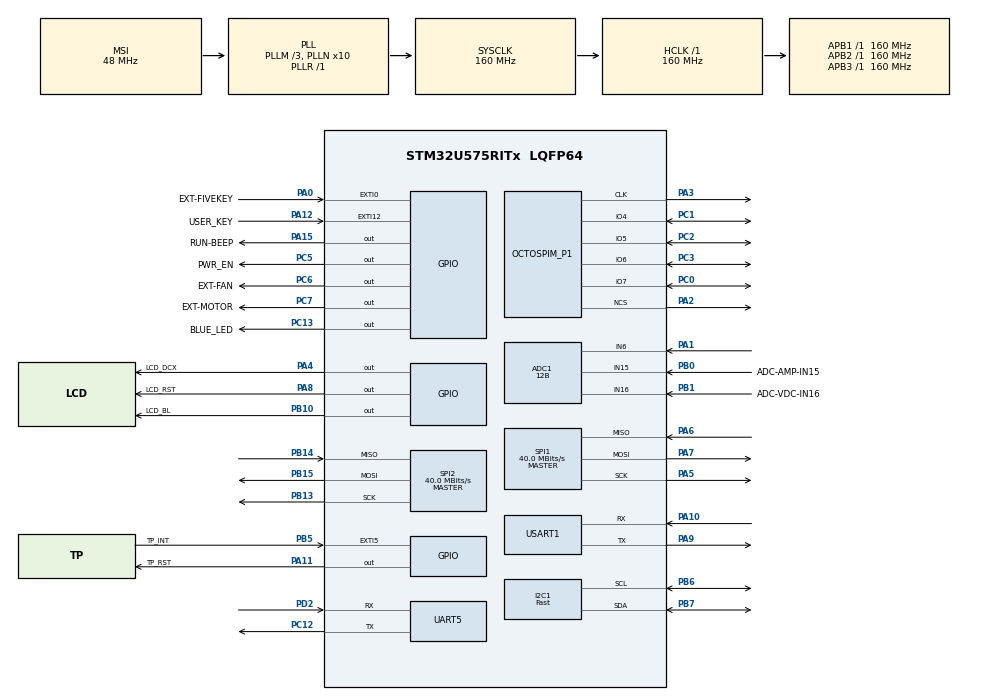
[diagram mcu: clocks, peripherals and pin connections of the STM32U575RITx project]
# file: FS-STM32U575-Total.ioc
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ADC1.Channel-0\#ChannelRegularConversion=ADC_CHANNEL_6
ADC1.Channel-1\#ChannelRegularConversion=ADC_CHANNEL_15
ADC1.Channel-2\#ChannelRegularConversion=ADC_CHANNEL_16
ADC1.Channel-3\#ChannelRegularConversion=ADC_CHANNEL_TEMPSENSOR
ADC1.Channel-4\#ChannelRegularConversion=ADC_CHANNEL_VREFINT
ADC1.Channel-5\#ChannelRegularConversion=ADC_CHANNEL_VBAT
ADC1.ClockPrescaler=ADC_CLOCK_ASYNC_DIV4
ADC1.ContinuousConvMode=ENABLE
ADC1.ConversionDataManagement=ADC_CONVERSIONDATA_DMA_CIRCULAR
ADC1.EnableRegularConversion=ENABLE
ADC1.MonitoredBy-0\#ChannelRegularConversion=__NULL
ADC1.MonitoredBy-1\#ChannelRegularConversion=__NULL
ADC1.MonitoredBy-2\#ChannelRegularConversion=__NULL
ADC1.MonitoredBy-3\#ChannelRegularConversion=__NULL
ADC1.MonitoredBy-4\#ChannelRegularConversion=__NULL
ADC1.MonitoredBy-5\#ChannelRegularConversion=__NULL
ADC1.NbrOfConversion=6
ADC1.NbrOfConversionFlag=1
ADC1.OffsetNumber-0\#ChannelRegularConversion=ADC_OFFSET_NONE
ADC1.OffsetNumber-1\#ChannelRegularConversion=ADC_OFFSET_NONE
ADC1.OffsetNumber-2\#ChannelRegularConversion=ADC_OFFSET_NONE
ADC1.OffsetNumber-3\#ChannelRegularConversion=ADC_OFFSET_NONE
ADC1.OffsetNumber-4\#ChannelRegularConversion=ADC_OFFSET_NONE
ADC1.OffsetNumber-5\#ChannelRegularConversion=ADC_OFFSET_NONE
ADC1.Rank-0\#ChannelRegularConversion=1
ADC1.Rank-1\#ChannelRegularConversion=2
ADC1.Rank-2\#ChannelRegularConversion=3
ADC1.Rank-3\#ChannelRegularConversion=4
ADC1.Rank-4\#ChannelRegularConversion=5
ADC1.Rank-5\#ChannelRegularConversion=6
ADC1.Resolution=ADC_RESOLUTION_12B
ADC1.SamplingTime-0\#ChannelRegularConversion=ADC_SAMPLETIME_391CYCLES_5
ADC1.SamplingTime-1\#ChannelRegularConversion=ADC_SAMPLETIME_391CYCLES_5
ADC1.SamplingTime-2\#ChannelRegularConversion=ADC_SAMPLETIME_391CYCLES_5
ADC1.SamplingTime-3\#ChannelRegularConversion=ADC_SAMPLETIME_391CYCLES_5
ADC1.SamplingTime-4\#ChannelRegularConversion=ADC_SAMPLETIME_391CYCLES_5
ADC1.SamplingTime-5\#ChannelRegularConversion=ADC_SAMPLETIME_391CYCLES_5
ADC1.master=1
CORTEX_M33_NS.userName=CORTEX_M33
GPDMA1.CIRCULARMODE_GPDMACH1=ENABLE
GPDMA1.DESTDATAWIDTH_GPDMACH0=DMA_DEST_DATAWIDTH_HALFWORD
GPDMA1.DESTDATAWIDTH_GPDMACH1=DMA_DEST_DATAWIDTH_HALFWORD
GPDMA1.DESTINC_GPDMACH0=DMA_DINC_FIXED
GPDMA1.DESTINC_GPDMACH1=DMA_DINC_INCREMENTED
GPDMA1.DIRECTION_GPDMACH0=DMA_MEMORY_TO_PERIPH
GPDMA1.IPHANDLE_GPDMACH0-SIMPLEREQUEST_GPDMACH0=__NULL
GPDMA1.IPHANDLE_GPDMACH1-SIMPLEREQUEST_GPDMACH1=__NULL
GPDMA1.LINKALLOCATEDPORT_CIRCULAR_GPDMACH1=DMA_LINK_ALLOCATED_PORT1
GPDMA1.PRIORITY_GPDMACH0=DMA_LOW_PRIORITY_HIGH_WEIGHT
GPDMA1.PRIORITY_LL_CIRCULAR_GPDMACH1=DMA_LOW_PRIORITY_HIGH_WEIGHT
GPDMA1.REQUEST_GPDMACH0=GPDMA1_REQUEST_SPI1_TX
GPDMA1.REQUEST_GPDMACH1=GPDMA1_REQUEST_ADC1
GPDMA1.SRCDATAWIDTH_GPDMACH0=DMA_SRC_DATAWIDTH_HALFWORD
GPDMA1.SRCDATAWIDTH_GPDMACH1=DMA_SRC_DATAWIDTH_HALFWORD
GPDMA1.SRCINC_GPDMACH0=DMA_SINC_INCREMENTED
GPDMA1.TRANSFERALLOCATEDPORTDEST_GPDMACH0=DMA_DEST_ALLOCATED_PORT1
GPDMA1.TRANSFERALLOCATEDPORTDEST_GPDMACH1=DMA_DEST_ALLOCATED_PORT1
GPDMA1.TRANSFERALLOCATEDPORTSRC_GPDMACH1=DMA_SRC_ALLOCATED_PORT1
I2C1.I2C_Speed_Mode=I2C_Fast
I2C1.Timing=0x00F07BFF
Mcu.Family=STM32U5
Mcu.Name=STM32U575RITx
Mcu.Package=LQFP64
NVIC.EXTI0_IRQn=true\:0\:0\:false\:false\:true\:true\:true\:true
NVIC.EXTI12_IRQn=true\:12\:0\:true\:false\:true\:true\:true\:true
NVIC.EXTI5_IRQn=true\:10\:0\:true\:false\:true\:true\:true\:true
NVIC.GPDMA1_Channel0_IRQn=true\:0\:0\:false\:false\:true\:false\:true\:true
NVIC.GPDMA1_Channel1_IRQn=true\:0\:0\:false\:false\:true\:false\:true\:true
NVIC.PriorityGroup=NVIC_PRIORITYGROUP_4
NVIC.SPI1_IRQn=true\:0\:0\:false\:false\:true\:true\:true\:true
NVIC.TIM16_IRQn=true\:13\:0\:true\:false\:true\:true\:true\:true
NVIC.TIM17_IRQn=true\:14\:0\:true\:false\:true\:true\:true\:true
NVIC.UART5_IRQn=true\:1\:0\:true\:false\:true\:true\:true\:true
OCTOSPI1.ClockMode=HAL_OSPI_CLOCK_MODE_3
OCTOSPI1.ClockPrescaler=2
OCTOSPI1.DeviceSize=24
OCTOSPI1.FifoThreshold=8
OCTOSPI1.SampleShifting=HAL_OSPI_SAMPLE_SHIFTING_HALFCYCLE
PA0.GPIO_Label=EXT-FIVEKEY
PA0.GPIO_ModeDefaultEXTI=GPIO_MODE_IT_RISING_FALLING
PA0.Signal=GPXTI0
PA1.Mode=IN6-Single-Ended
PA1.Signal=ADC1_IN6
PA10.Mode=Asynchronous
PA10.Signal=USART1_RX
PA11.GPIO_Label=TP_RST
PA11.Signal=GPIO_Output
PA12.GPIO_Label=USER_KEY
PA12.GPIO_ModeDefaultEXTI=GPIO_MODE_IT_FALLING
PA12.Signal=GPXTI12
PA15\ (JTDI).GPIO_Label=RUN-BEEP
PA15\ (JTDI).Signal=GPIO_Output
PA2.Mode=OCTOSPI1_Port1_NCS
PA2.Signal=OCTOSPIM_P1_NCS
PA3.Mode=O1_P1_CLK
PA3.Signal=OCTOSPIM_P1_CLK
PA4.GPIO_Label=LCD_DCX
PA4.GPIO_Speed=GPIO_SPEED_FREQ_VERY_HIGH
PA4.Signal=GPIO_Output
PA5.GPIO_Speed=GPIO_SPEED_FREQ_VERY_HIGH
PA5.Mode=Full_Duplex_Master
PA5.Signal=SPI1_SCK
PA6.GPIO_Speed=GPIO_SPEED_FREQ_VERY_HIGH
PA6.Mode=Full_Duplex_Master
PA6.Signal=SPI1_MISO
PA7.GPIO_Speed=GPIO_SPEED_FREQ_VERY_HIGH
PA7.Mode=Full_Duplex_Master
PA7.Signal=SPI1_MOSI
PA8.GPIO_Label=LCD_RST
PA8.GPIO_Speed=GPIO_SPEED_FREQ_HIGH
PA8.Signal=GPIO_Output
PA9.Mode=Asynchronous
PA9.Signal=USART1_TX
PB0.GPIO_Label=ADC-AMP-IN15
PB0.Mode=IN15-Single-Ended
PB0.Signal=ADC1_IN15
PB1.GPIO_Label=ADC-VDC-IN16
PB1.Mode=IN16-Single-Ended
PB1.Signal=ADC1_IN16
PB10.GPIO_Label=LCD_BL
PB10.PinState=GPIO_PIN_SET
PB10.Signal=GPIO_Output
PB13.GPIO_Speed=GPIO_SPEED_FREQ_VERY_HIGH
PB13.Mode=Full_Duplex_Master
PB13.Signal=SPI2_SCK
PB14.GPIO_Speed=GPIO_SPEED_FREQ_VERY_HIGH
PB14.Mode=Full_Duplex_Master
PB14.Signal=SPI2_MISO
PB15.GPIO_Speed=GPIO_SPEED_FREQ_VERY_HIGH
PB15.Mode=Full_Duplex_Master
PB15.Signal=SPI2_MOSI
PB5.GPIO_Label=TP_INT
PB5.GPIO_ModeDefaultEXTI=GPIO_MODE_IT_RISING_FALLING
PB5.GPIO_PuPd=GPIO_PULLUP
PB5.Signal=GPXTI5
PB6.Mode=I2C
PB6.Signal=I2C1_SCL
PB7.Mode=I2C
PB7.Signal=I2C1_SDA
PC0.Mode=OCTOSPI1_IOL_Port1H
PC0.Signal=OCTOSPIM_P1_IO7
PC1.Mode=OCTOSPI1_IOL_Port1H
PC1.Signal=OCTOSPIM_P1_IO4
PC12.Mode=Asynchronous
PC12.Signal=UART5_TX
PC13.GPIO_Label=BLUE_LED
PC13.Signal=GPIO_Output
PC14-OSC32_IN\ (PC14).Mode=LSE-External-Oscillator
PC14-OSC32_IN\ (PC14).Signal=RCC_OSC32_IN
PC15-OSC32_OUT\ (PC15).Mode=LSE-External-Oscillator
PC15-OSC32_OUT\ (PC15).Signal=RCC_OSC32_OUT
PC2.Mode=OCTOSPI1_IOL_Port1H
PC2.Signal=OCTOSPIM_P1_IO5
PC3.Mode=OCTOSPI1_IOL_Port1H
PC3.Signal=OCTOSPIM_P1_IO6
PC5.GPIO_Label=PWR_EN
PC5.PinState=GPIO_PIN_SET
PC5.Signal=GPIO_Output
PC6.GPIO_Label=EXT-FAN
PC6.Signal=GPIO_Output
PC7.GPIO_Label=EXT-MOTOR
PC7.Signal=GPIO_Output
PD2.Mode=Asynchronous
PD2.Signal=UART5_RX
PH0-OSC_IN\ (PH0).Mode=HSE-External-Oscillator
PH0-OSC_IN\ (PH0).Signal=RCC_OSC_IN
PH1-OSC_OUT\ (PH1).Mode=HSE-External-Oscillator
PH1-OSC_OUT\ (PH1).Signal=RCC_OSC_OUT
ProjectManager.HeapSize=0x1200
ProjectManager.StackSize=0x1200
ProjectManager.TargetToolchain=MDK-ARM V5.32
RCC.ADCFreq_Value=16000000
RCC.AHBFreq_Value=160000000
RCC.APB1Freq_Value=160000000
RCC.APB1TimFreq_Value=160000000
RCC.APB2Freq_Value=160000000
RCC.APB2TimFreq_Value=160000000
RCC.APB3Freq_Value=160000000
RCC.CortexFreq_Value=160000000
RCC.EPOD_VALUE=48000000
RCC.HCLKFreq_Value=160000000
RCC.HSE_VALUE=12000000
RCC.HSI48_VALUE=48000000
RCC.HSI_VALUE=16000000
RCC.LSIDIV_VALUE=32000
RCC.MSIClockRange=RCC_MSIRANGE_0
RCC.MSI_VALUE=48000000
RCC.PLL1R=1
RCC.PLL2FRACN=0
RCC.PLL3FRACN=0
RCC.PLLFRACN=0
RCC.PLLM=3
RCC.PLLN=10
RCC.SYSCLKFreq_VALUE=160000000
RCC.SYSCLKSource=RCC_SYSCLKSOURCE_PLLCLK
RCC.USBFreq_Value=48000000
RCC.VCOOutputFreq_Value=160000000
RTC.Date=11
RTC.Hours=15
RTC.Minutes=36
RTC.Month=RTC_MONTH_JULY
RTC.WeekDay=RTC_WEEKDAY_TUESDAY
RTC.Year=23
SPI1.BaudRatePrescaler=SPI_BAUDRATEPRESCALER_4
SPI1.CalculateBaudRate=40.0 MBits/s
SPI1.DataSize=SPI_DATASIZE_8BIT
SPI1.Direction=SPI_DIRECTION_2LINES
SPI1.Mode=SPI_MODE_MASTER
SPI1.VirtualType=VM_MASTER
SPI2.BaudRatePrescaler=SPI_BAUDRATEPRESCALER_4
SPI2.CalculateBaudRate=40.0 MBits/s
SPI2.Direction=SPI_DIRECTION_2LINES
SPI2.MasterKeepIOState=SPI_MASTER_KEEP_IO_STATE_ENABLE
SPI2.Mode=SPI_MODE_MASTER
SPI2.NSSPMode=SPI_NSS_PULSE_DISABLE
SPI2.ReadyPolarity=SPI_RDY_POLARITY_LOW
SPI2.VirtualType=VM_MASTER
STMicroelectronics.X-CUBE-TOUCHGFX.4.21.2.ApplicationCcGraphicsJjApplication=TouchGFXOoGenerator
STMicroelectronics.X-CUBE-TOUCHGFX.4.21.2.tgfx_custom_height=240
STMicroelectronics.X-CUBE-TOUCHGFX.4.21.2.tgfx_custom_width=320
STMicroelectronics.X-CUBE-TOUCHGFX.4.21.2.tgfx_hardware_accelerator=dma_custom
STMicroelectronics.X-CUBE-TOUCHGFX.4.21.2_IsPackSelfContextualization=true
TIM16.AutoReloadPreload=TIM_AUTORELOAD_PRELOAD_ENABLE
TIM16.PeriodNoDither=5000-1
TIM16.Prescaler=160-1
TIM17.AutoReloadPreload=TIM_AUTORELOAD_PRELOAD_ENABLE
TIM17.PeriodNoDither=10000-1
TIM17.Prescaler=1600-1
USART1.VirtualMode-Asynchronous=VM_ASYNC
VP_ADC1_TempSens_Input.Mode=IN-TempSens
VP_ADC1_Vbat_Input.Mode=IN-Vbat
VP_ADC1_Vref_Input.Mode=IN-Vrefint
VP_CRC_VS_CRC.Mode=CRC_Activate
VP_GPDMA1_VS_GPDMACH0.Mode=SIMPLEREQUEST_GPDMACH0
VP_GPDMA1_VS_GPDMACH1.Mode=SIMPLEREQUEST_GPDMACH1
VP_ICACHE_VS_ENABLE_ICACHE_MEMORY.Mode=Memoryregions
VP_ICACHE_VS_ICACHE.Mode=DirectMappedCache
VP_LPBAMQUEUE_VS_QUEUE.Mode=QUEUEMODE
VP_LPBAM_VS_SIG1.Mode=SmartRun
VP_LPBAM_VS_SIG4.Mode=LPDMA1
VP_OCTOSPI1_VS_quad.Mode=quad_mode
VP_PWR_VS_DBSignals.Mode=DisableDeadBatterySignals
VP_PWR_VS_LPOM.Mode=PowerOptimisation
VP_PWR_VS_SECSignals.Mode=Security/Privilege
VP_RTC_VS_RTC_Activate.Mode=RTC_Enabled
VP_RTC_VS_RTC_Calendar.Mode=RTC_Calendar
VP_STMicroelectronics.X-CUBE-TOUCHGFX_VS_GraphicsJjApplication_4.21.2.Mode=GraphicsJjApplication
VP_TIM16_VS_ClockSourceINT.Mode=Enable_Timer
VP_TIM17_VS_ClockSourceINT.Mode=Enable_Timer
board=custom

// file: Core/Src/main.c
/* USER CODE BEGIN Header */
/**
  ******************************************************************************
  * @file           : main.c
  * @brief          : Main program body
  ******************************************************************************
  * @attention
  *
  * Copyright (c) 2023 STMicroelectronics.
  * All rights reserved.
  *
  * This software is licensed under terms that can be found in the LICENSE file
  * in the root directory of this software component.
  * If no LICENSE file comes with this software, it is provided AS-IS.
  *
  ******************************************************************************
  */
/* USER CODE END Header */
#include "main.h"
#include "adc.h"
#include "crc.h"
#include "gpdma.h"
#include "i2c.h"
#include "icache.h"
#include "octospi.h"
#include "rtc.h"
#include "spi.h"
#include "tim.h"
#include "usart.h"
#include "gpio.h"
#include "app_touchgfx.h"
#include <string.h>
/* USER CODE BEGIN Includes */
#include "user_app.h"		//用户应用程序

/* USER CODE END Includes */

/* USER CODE BEGIN PD */
#define	ADC_CONVERTED_DATA_BUFFER_SIZE	6
/* USER CODE END PD */

/* USER CODE BEGIN PV */
uint8_t gChatCount = 10;  //全局按键按压计数
extern gTask_MarkEN gTaskEnMark;  //系统任务使能标识
static uint8_t gTaskIndex = 0x00;  //系统任务索引变量
extern volatile uint8_t TcpClosedFlag;
ADC_ValTypeDef gStruADC={0,0,0,0,0,0}; //A/D通道实时采集的数据
/* USER CODE END PV */

void SystemClock_Config(void);
static void SystemPower_Config(void);
/* USER CODE BEGIN PFP */
extern void touchgfx_signalVSynTimer(void);
extern gTask_BitDef gTaskStateBit;  //任务执行过程中使用到的标志位
volatile uint8_t gRX3_BufF[1];	//串口3-wifi模组接收到的数据
/* USER CODE END PFP */

/* USER CODE BEGIN 0 */
/**************************关闭标准库下的半主机模式****************************/
__ASM (".global __use_no_semihosting");	//AC6编译器
//标准库需要的支持函数
struct FILE
{
  int handle;
};
FILE __stdout;
//定义_sys_exit()以避免使用半主机模式
void _sys_exit(int x)
{
  x = x;
}
void _ttywrch(int ch)
{
  ch = ch;
}
//printf实现重定向
int fputc(int ch, FILE *f)
{
	uint8_t temp[1] = {ch};
	HAL_UART_Transmit(&huart1, temp, 1, 2);
	return ch;
}
/******************************************************************************/

/*******************************************************************************
*	函 数 名: OSPI_W25Qxx_mmap
*	入口参数: 无
*	返 回 值: 无
*	函数功能: 设置为内存映射模式
*	说    明: 无
*******************************************************************************/
void OSPI_W25Qxx_mmap(void)		//Flash读写测试
{
	int32_t OSPI_Status ; 		 //检测标志位
	//
	OSPI_Status = OSPI_W25Qxx_MemoryMappedMode(); //配置OSPI为内存映射模式
	if( OSPI_Status == OSPI_W25Qxx_OK )
	{
		printf ("\r\n内存映射模式设置成功>>>>\r\n");
	}
	else
	{
		printf ("\r\n内存映射模式设置失败>>>>\r\n");
		Error_Handler();
	}
}
/* USER CODE END 0 */

int main(void)
{

  /* MCU Configuration--------------------------------------------------------*/

  /* Reset of all peripherals, Initializes the Flash interface and the Systick. */
  HAL_Init();

  /* Configure the system clock */
  SystemClock_Config();

  /* Configure the System Power */
  SystemPower_Config();

  /* Initialize all configured peripherals */
  MX_GPIO_Init();
  MX_GPDMA1_Init();
  MX_ICACHE_Init();
  MX_OCTOSPI1_Init();
  MX_SPI1_Init();
  MX_CRC_Init();
  MX_I2C1_Init();
  MX_TIM16_Init();
  MX_TIM17_Init();
  MX_USART1_UART_Init();
  MX_RTC_Init();
  MX_ADC1_Init();
  MX_UART5_Init();
  MX_SPI2_Init();
  MX_TouchGFX_Init();
  /* USER CODE BEGIN 2 */
	//ESP8266初始化，HAL库使用USART3
	ESP8266_Init(&huart5,(uint8_t *)gRX3_BufF,115200);

	ap3216c_init();	//环境光传感器初始化
  ILI9341_Init();	//显示屏初始化
  FT6336_init();	//触摸屏初始化
	mpu_init_dmp();	//mpu6050 dmp初始化
	System_Time_init();
  //NOR Flash初始化
  OSPI_W25Qxx_Init();	//初始化W25Q128
  OSPI_W25Qxx_mmap();	//设置为内存映射模式
	HAL_PWREx_EnableVddA();
  HAL_PWREx_EnableVddIO2();

	//读取ADC值
	if (HAL_ADC_Start_DMA(&hadc1,(uint32_t *)&gStruADC,ADC_CONVERTED_DATA_BUFFER_SIZE) != HAL_OK)	{Error_Handler();}
  /* USER CODE END 2 */

  /* Infinite loop */
  /* USER CODE BEGIN WHILE */
  HAL_TIM_Base_Start_IT(&htim16);//开启定时器16开启,系统任务调度开始
  while (1)
  {
    /* USER CODE END WHILE */

  MX_TouchGFX_Process();
    /* USER CODE BEGIN 3 */
		//执行任务列表中的的任务

  }
  /* USER CODE END 3 */
}

void SystemClock_Config(void)
{
  RCC_OscInitTypeDef RCC_OscInitStruct = {0};
  RCC_ClkInitTypeDef RCC_ClkInitStruct = {0};

  /** Configure the main internal regulator output voltage
  */
  if (HAL_PWREx_ControlVoltageScaling(PWR_REGULATOR_VOLTAGE_SCALE1) != HAL_OK)
  {
    Error_Handler();
  }

  /** Initializes the CPU, AHB and APB buses clocks
  */
  RCC_OscInitStruct.OscillatorType = RCC_OSCILLATORTYPE_HSI|RCC_OSCILLATORTYPE_LSI
                              |RCC_OSCILLATORTYPE_MSI;
  RCC_OscInitStruct.HSIState = RCC_HSI_ON;
  RCC_OscInitStruct.HSICalibrationValue = RCC_HSICALIBRATION_DEFAULT;
  RCC_OscInitStruct.LSIState = RCC_LSI_ON;
  RCC_OscInitStruct.MSIState = RCC_MSI_ON;
  RCC_OscInitStruct.MSICalibrationValue = RCC_MSICALIBRATION_DEFAULT;
  RCC_OscInitStruct.MSIClockRange = RCC_MSIRANGE_0;
  RCC_OscInitStruct.LSIDiv = RCC_LSI_DIV1;
  RCC_OscInitStruct.PLL.PLLState = RCC_PLL_ON;
  RCC_OscInitStruct.PLL.PLLSource = RCC_PLLSOURCE_MSI;
  RCC_OscInitStruct.PLL.PLLMBOOST = RCC_PLLMBOOST_DIV4;
  RCC_OscInitStruct.PLL.PLLM = 3;
  RCC_OscInitStruct.PLL.PLLN = 10;
  RCC_OscInitStruct.PLL.PLLP = 2;
  RCC_OscInitStruct.PLL.PLLQ = 2;
  RCC_OscInitStruct.PLL.PLLR = 1;
  RCC_OscInitStruct.PLL.PLLRGE = RCC_PLLVCIRANGE_1;
  RCC_OscInitStruct.PLL.PLLFRACN = 0;
  if (HAL_RCC_OscConfig(&RCC_OscInitStruct) != HAL_OK)
  {
    Error_Handler();
  }

  /** Initializes the CPU, AHB and APB buses clocks
  */
  RCC_ClkInitStruct.ClockType = RCC_CLOCKTYPE_HCLK|RCC_CLOCKTYPE_SYSCLK
                              |RCC_CLOCKTYPE_PCLK1|RCC_CLOCKTYPE_PCLK2
                              |RCC_CLOCKTYPE_PCLK3;
  RCC_ClkInitStruct.SYSCLKSource = RCC_SYSCLKSOURCE_PLLCLK;
  RCC_ClkInitStruct.AHBCLKDivider = RCC_SYSCLK_DIV1;
  RCC_ClkInitStruct.APB1CLKDivider = RCC_HCLK_DIV1;
  RCC_ClkInitStruct.APB2CLKDivider = RCC_HCLK_DIV1;
  RCC_ClkInitStruct.APB3CLKDivider = RCC_HCLK_DIV1;

  if (HAL_RCC_ClockConfig(&RCC_ClkInitStruct, FLASH_LATENCY_4) != HAL_OK)
  {
    Error_Handler();
  }
}

/**
  * @brief Power Configuration
  * @retval None
  */
static void SystemPower_Config(void)
{

  /*
   * Disable the internal Pull-Up in Dead Battery pins of UCPD peripheral
   */
  HAL_PWREx_DisableUCPDDeadBattery();
}

/* USER CODE BEGIN 4 */
//定时器16/17的任务分配
void HAL_TIM_PeriodElapsedCallback(TIM_HandleTypeDef *htim)
{
	static uint8_t p_Time16Cnt = 0,p_Time17Cnt = 0;
	/***************************************************************************************/
	//定时器16进行5ms任务中断
	if (htim->Instance == htim16.Instance)
	{
		p_Time16Cnt++;
		//
		if(!(p_Time16Cnt % 4))  //20ms(50Hz)进行触发刷新
		{
			touchgfx_signalVSynTimer();  //touchgfx用户接口
		}
	}
}
/**
  * @brief  EXTI line rising detection callback.
  * @param  GPIO_Pin: Specifies the port pin connected to corresponding EXTI line.
  * @retval None
  */
void HAL_GPIO_EXTI_Falling_Callback(uint16_t GPIO_Pin)
{
  /* Prevent unused argument(s) compilation warning */
	UNUSED(GPIO_Pin);
	//触摸按下事件
	if((!HAL_GPIO_ReadPin(TP_INT_GPIO_Port,TP_INT_Pin)) && (GPIO_Pin == TP_INT_Pin))
	{
		gTaskStateBit.TouchPress = 1;
	}
	if(!HAL_GPIO_ReadPin(USER_KEY_GPIO_Port,USER_KEY_Pin))
	{
		gChatCount = gChatCount + 10;
		if(gChatCount>=100) gChatCount=10;
	}
}
void HAL_GPIO_EXTI_Rising_Callback(uint16_t GPIO_Pin)
{
  /* Prevent unused argument(s) compilation warning */
	UNUSED(GPIO_Pin);
	//触摸释放事件
	if(HAL_GPIO_ReadPin(TP_INT_GPIO_Port,TP_INT_Pin) && gTaskStateBit.TouchPress)
	{
		FT6336_irq_fuc();	//触摸中断产生
		gTaskStateBit.TouchPress = 0;	//清除触摸标志
	}
	//五向按键按下
	if(HAL_GPIO_ReadPin(EXT_FIVEKEY_GPIO_Port,EXT_FIVEKEY_Pin) && (GPIO_Pin == EXT_FIVEKEY_Pin) && (gTaskStateBit.TouchPress == 0))
	{
		gTaskStateBit.FiveKeyPress = 1;
	}
}
/**
  * @brief  Conversion complete callback in non blocking mode
  * @param  hadc: ADC handle
  * @note   This example shows a simple way to report end of conversion
  *         and get conversion result. You can add your own implementation.
  * @retval None
  */
void HAL_ADC_ConvCpltCallback(ADC_HandleTypeDef *hadc)
{
  //更新DMA传输状态标志
  gTaskStateBit.ADCC = 1;
}
/**
  * @brief  Rx Transfer completed callback.
  * @param  huart UART handle.
  * @retval None
  */
void HAL_UART_RxCpltCallback(UART_HandleTypeDef *huart)
{
	//USART3接收数据
	if (huart->Instance == UART5)
	{
		if(ESP8266_Fram_Record_Struct .InfBit .FramLength < ( RX_BUF_MAX_LEN - 1 ) ) 	//接收到的数据存储至buffer
		{
			//留最后一位做结束位
			ESP8266_Fram_Record_Struct .Data_RX_BUF[ ESP8266_Fram_Record_Struct .InfBit .FramLength ++ ]  = gRX3_BufF[0];
			//UART3开启下一次接收
			HAL_UART_Receive_IT(&huart5,(uint8_t *)&gRX3_BufF, 1);//接收一个字节
		}
	}

}
/**
  * @brief  UART Abort Receive Complete callback.
  * @param  huart UART handle.
  * @retval None
  */
void HAL_UART_AbortReceiveCpltCallback(UART_HandleTypeDef *huart)
{
	//USART3帧传输完成，产生空闲
	if (huart->Instance == UART5)
	{
		ESP8266_Fram_Record_Struct .InfBit .FramFinishFlag = 1;	//帧传输完成标志
		TcpClosedFlag = strstr ( ESP8266_Fram_Record_Struct .Data_RX_BUF, "CLOSED\r\n" ) ? 1 : 0;	//判断连接
		//UART3开启下一次接收
		HAL_UART_Receive_IT(&huart5,(uint8_t *)&gRX3_BufF, 1);//接收一个字节
	}
}
/* USER CODE END 4 */

void Error_Handler(void)
{
  __disable_irq();
  while (1)
  {
  }
}
